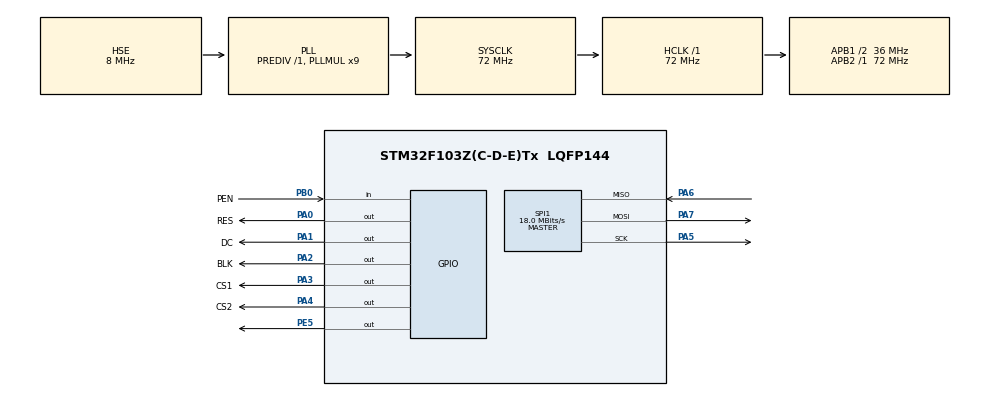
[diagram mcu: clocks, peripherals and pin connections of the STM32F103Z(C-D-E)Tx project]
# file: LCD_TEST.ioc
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Mcu.Family=STM32F1
Mcu.Name=STM32F103Z(C-D-E)Tx
Mcu.Package=LQFP144
NVIC.PriorityGroup=NVIC_PRIORITYGROUP_4
NVIC.TIM6_IRQn=true\:0\:0\:false\:false\:true\:true\:true\:true
OSC_IN.Mode=HSE-External-Oscillator
OSC_IN.Signal=RCC_OSC_IN
OSC_OUT.Mode=HSE-External-Oscillator
OSC_OUT.Signal=RCC_OSC_OUT
PA0-WKUP.GPIO_Label=RES
PA0-WKUP.PinState=GPIO_PIN_SET
PA0-WKUP.Signal=GPIO_Output
PA1.GPIO_Label=DC
PA1.GPIO_ModeDefaultOutputPP=GPIO_MODE_OUTPUT_PP
PA1.GPIO_PuPd=GPIO_PULLUP
PA1.GPIO_Speed=GPIO_SPEED_FREQ_LOW
PA1.PinState=GPIO_PIN_SET
PA1.Signal=GPIO_Output
PA13.Mode=Serial_Wire
PA13.Signal=SYS_JTMS-SWDIO
PA14.Mode=Serial_Wire
PA14.Signal=SYS_JTCK-SWCLK
PA2.GPIO_Label=BLK
PA2.GPIO_ModeDefaultOutputPP=GPIO_MODE_OUTPUT_PP
PA2.GPIO_PuPd=GPIO_PULLUP
PA2.GPIO_Speed=GPIO_SPEED_FREQ_LOW
PA2.PinState=GPIO_PIN_SET
PA2.Signal=GPIO_Output
PA3.GPIO_Label=CS1
PA3.GPIO_ModeDefaultOutputPP=GPIO_MODE_OUTPUT_PP
PA3.GPIO_PuPd=GPIO_PULLUP
PA3.GPIO_Speed=GPIO_SPEED_FREQ_LOW
PA3.PinState=GPIO_PIN_SET
PA3.Signal=GPIO_Output
PA4.GPIO_Label=CS2
PA4.GPIO_ModeDefaultOutputPP=GPIO_MODE_OUTPUT_PP
PA4.GPIO_PuPd=GPIO_PULLUP
PA4.GPIO_Speed=GPIO_SPEED_FREQ_LOW
PA4.PinState=GPIO_PIN_SET
PA4.Signal=GPIO_Output
PA5.Mode=Full_Duplex_Master
PA5.Signal=SPI1_SCK
PA6.Mode=Full_Duplex_Master
PA6.Signal=SPI1_MISO
PA7.Mode=Full_Duplex_Master
PA7.Signal=SPI1_MOSI
PB0.GPIO_Label=PEN
PB0.GPIO_PuPd=GPIO_NOPULL
PB0.Signal=GPIO_Input
PE5.PinState=GPIO_PIN_SET
PE5.Signal=GPIO_Output
ProjectManager.HeapSize=0x200
ProjectManager.StackSize=0x400
ProjectManager.TargetToolchain=MDK-ARM V5.32
RCC.AHBFreq_Value=72000000
RCC.APB1CLKDivider=RCC_HCLK_DIV2
RCC.APB1Freq_Value=36000000
RCC.APB1TimFreq_Value=72000000
RCC.APB2Freq_Value=72000000
RCC.APB2TimFreq_Value=72000000
RCC.HCLKFreq_Value=72000000
RCC.PLLMUL=RCC_PLL_MUL9
RCC.PLLSourceVirtual=RCC_PLLSOURCE_HSE
RCC.SYSCLKFreq_VALUE=72000000
RCC.SYSCLKSource=RCC_SYSCLKSOURCE_PLLCLK
RCC.USBFreq_Value=72000000
SPI1.BaudRatePrescaler=SPI_BAUDRATEPRESCALER_4
SPI1.CalculateBaudRate=18.0 MBits/s
SPI1.Direction=SPI_DIRECTION_2LINES
SPI1.Mode=SPI_MODE_MASTER
SPI1.VirtualType=VM_MASTER
TIM6.AutoReloadPreload=TIM_AUTORELOAD_PRELOAD_ENABLE
TIM6.Period=999
TIM6.Prescaler=71
VP_TIM6_VS_ClockSourceINT.Mode=Enable_Timer
board=custom

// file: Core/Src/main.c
/* USER CODE BEGIN Header */
/**
  ******************************************************************************
  * @file           : main.c
  * @brief          : Main program body
  ******************************************************************************
  * @attention
  *
  * Copyright (c) 2026 STMicroelectronics.
  * All rights reserved.
  *
  * This software is licensed under terms that can be found in the LICENSE file
  * in the root directory of this software component.
  * If no LICENSE file comes with this software, it is provided AS-IS.
  *
  ******************************************************************************
  */
/* USER CODE END Header */
#include "main.h"
#include "spi.h"
#include "tim.h"
#include "gpio.h"

/* USER CODE BEGIN Includes */
#include "lcd_init.h"
#include "lcd.h"
#include "pic.h"
#include "touch.h"
#include "lv_conf.h"
#include "lvgl.h"
#include "lv_port_disp_template.h"
#include "lv_demo_stress.h"
#include "lv_demo_widgets.h"
#include "lv_port_indev_template.h"
#include "ui.h"

/* USER CODE END Includes */

void SystemClock_Config(void);

int main(void)
{

  /* USER CODE BEGIN 1 */
	u8 i,j;
	float t=0;
 	u16 lastpos[2];//���һ�ε�����
  /* USER CODE END 1 */

  /* MCU Configuration--------------------------------------------------------*/

  /* Reset of all peripherals, Initializes the Flash interface and the Systick. */
  HAL_Init();

  /* Configure the system clock */
  SystemClock_Config();

  /* Initialize all configured peripherals */
  MX_GPIO_Init();
  MX_SPI1_Init();
  MX_TIM6_Init();
  /* USER CODE BEGIN 2 */
	HAL_TIM_Base_Start_IT(&htim6);

	lv_init();
	lv_port_disp_init();
	lv_port_indev_init();
//	lv_demo_widgets();
	ui_init();
//	lv_port_disp_init();
//	lv_demo_stress();

  /* USER CODE END 2 */

  /* Infinite loop */
  /* USER CODE BEGIN WHILE */
  while (1)
  {
		lv_timer_handler();
		HAL_Delay(5);
// 		tp_dev.scan(0);//扫描
// 		if(tp_dev.sta&TP_PRES_DOWN)//有按键被按下
//		{
//			HAL_Delay(1);//必要的延时,否则老认为有按键按下.
//			if((tp_dev.x[0]<(LCD_W-1)&&tp_dev.x[0]>=1)&&(tp_dev.y[0]<(LCD_H-1)&&tp_dev.y[0]>=1))
//			{
//				if(lastpos[0]==0XFFFF)
//				{
//					lastpos[0]=tp_dev.x[0];
//					lastpos[1]=tp_dev.y[0];
//				}
//				LCD_DrawRoughLine(lastpos[0],lastpos[1],tp_dev.x[0],tp_dev.y[0],BLUE);//画线
//				lastpos[0]=tp_dev.x[0];
//				lastpos[1]=tp_dev.y[0];
//				LCD_ShowString(10,LCD_H-40,"X:",RED,WHITE,16,0);
//				LCD_ShowIntNum(26,LCD_H-40,tp_dev.x[0],3,RED,WHITE,16);
//				LCD_ShowString(10,LCD_H-20,"Y:",RED,WHITE,16,0);
//				LCD_ShowIntNum(26,LCD_H-20,tp_dev.y[0],3,RED,WHITE,16);
//			}
//		}
    /* USER CODE END WHILE */

  }
}

void SystemClock_Config(void)
{
  RCC_OscInitTypeDef RCC_OscInitStruct = {0};
  RCC_ClkInitTypeDef RCC_ClkInitStruct = {0};

  /** Initializes the RCC Oscillators according to the specified parameters
  * in the RCC_OscInitTypeDef structure.
  */
  RCC_OscInitStruct.OscillatorType = RCC_OSCILLATORTYPE_HSE;
  RCC_OscInitStruct.HSEState = RCC_HSE_ON;
  RCC_OscInitStruct.HSEPredivValue = RCC_HSE_PREDIV_DIV1;
  RCC_OscInitStruct.HSIState = RCC_HSI_ON;
  RCC_OscInitStruct.PLL.PLLState = RCC_PLL_ON;
  RCC_OscInitStruct.PLL.PLLSource = RCC_PLLSOURCE_HSE;
  RCC_OscInitStruct.PLL.PLLMUL = RCC_PLL_MUL9;
  if (HAL_RCC_OscConfig(&RCC_OscInitStruct) != HAL_OK)
  {
    Error_Handler();
  }

  /** Initializes the CPU, AHB and APB buses clocks
  */
  RCC_ClkInitStruct.ClockType = RCC_CLOCKTYPE_HCLK|RCC_CLOCKTYPE_SYSCLK
                              |RCC_CLOCKTYPE_PCLK1|RCC_CLOCKTYPE_PCLK2;
  RCC_ClkInitStruct.SYSCLKSource = RCC_SYSCLKSOURCE_PLLCLK;
  RCC_ClkInitStruct.AHBCLKDivider = RCC_SYSCLK_DIV1;
  RCC_ClkInitStruct.APB1CLKDivider = RCC_HCLK_DIV2;
  RCC_ClkInitStruct.APB2CLKDivider = RCC_HCLK_DIV1;

  if (HAL_RCC_ClockConfig(&RCC_ClkInitStruct, FLASH_LATENCY_2) != HAL_OK)
  {
    Error_Handler();
  }
}

/* USER CODE BEGIN 4 */
void HAL_TIM_PeriodElapsedCallback(TIM_HandleTypeDef *htim)
{
	if(htim == &htim6)
	{
		lv_tick_inc(1);
	}
}
/* USER CODE END 4 */

void Error_Handler(void)
{
  __disable_irq();
  while (1)
  {
  }
}
